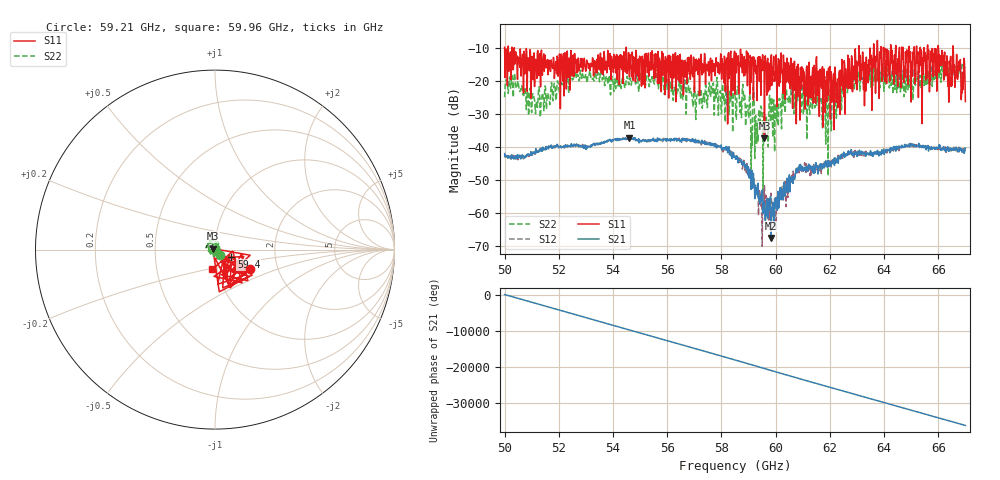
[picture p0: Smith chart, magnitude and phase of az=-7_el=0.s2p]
!Created with skrf (http://scikit-rf.org).
# GHz S RI R 50.0
!freq ReS11 ImS11 ReS21 ImS21 ReS12 ImS12 ReS22 ImS22
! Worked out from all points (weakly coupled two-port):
!   1001 points, 50 GHz to 67 GHz, reference 50 ohm
!   highest |S21| = -37.10 dB at 54.61 GHz (marker M1); lowest = -67.6 dB at 59.83 GHz (marker M2)
!   lowest |S11| = -37.3 dB at 59.59 GHz (marker M3), VSWR 1.03, Z = 48.8 + j0.574 ohm
!   |S11| at or under -10 dB: 50.36 GHz to 54.49 GHz (4.129 GHz wide, 7.88 % of centre); 54.49 GHz to 63.07 GHz (8.581 GHz wide, 14.6 % of centre); 66.01 GHz to 66.54 GHz (533 MHz wide, 0.804 % of centre) (the widest 3 of 25)
!   |S22| runs from -54.1 to -13.9 dB; largest |S21 - S12| = 0.0021
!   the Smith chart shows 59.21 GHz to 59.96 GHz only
!   S11 on the Smith chart (normalised r, x): 59.21 GHz: 1.43, -0.32; 59.4 GHz: 1.20, -0.10; 59.96 GHz: 0.95, -0.21
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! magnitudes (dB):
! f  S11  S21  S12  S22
! 50 GHz  -9.7  -42.0  -42.6  -24.9
! 50.42 GHz  -13.3  -42.6  -42.7  -22.0
! 51.38 GHz  -16.4  -41.1  -41.3  -24.6
! 52.84 GHz  -14.0  -39.6  -39.8  -19.2
! 54.61 GHz  -18.7  -37.1  -37.3  -19.2
! 55.68 GHz  -13.4  -38.0  -37.6  -22.3
! 58.5 GHz  -24.0  -42.7  -42.9  -24.3
! 59.21 GHz  -13.2  -51.1  -52.3  -28.5
! 59.4 GHz  -20.0  -56.5  -53.3  -28.7
! 59.59 GHz  -37.3  -57.6  -51.7  -30.1
! 59.83 GHz  -13.2  -67.6  -54.0  -31.5
! 59.96 GHz  -19.0  -58.7  -55.5  -41.4
! 60.64 GHz  -14.6  -51.0  -47.3  -22.1
! 61.34 GHz  -24.9  -47.0  -46.4  -25.8
! 62 GHz  -15.5  -45.8  -45.5  -25.3
! 62.55 GHz  -15.0  -43.1  -42.9  -19.5
! 63.01 GHz  -22.6  -42.9  -42.0  -19.8
! 64.18 GHz  -17.6  -40.8  -40.8  -18.6
! 66.08 GHz  -14.8  -40.0  -40.8  -15.7
! 66.42 GHz  -15.4  -40.7  -41.0  -16.1
! 66.75 GHz  -16.7  -40.7  -40.0  -18.5
! 67 GHz  -26.2  -40.3  -40.3  -15.8
